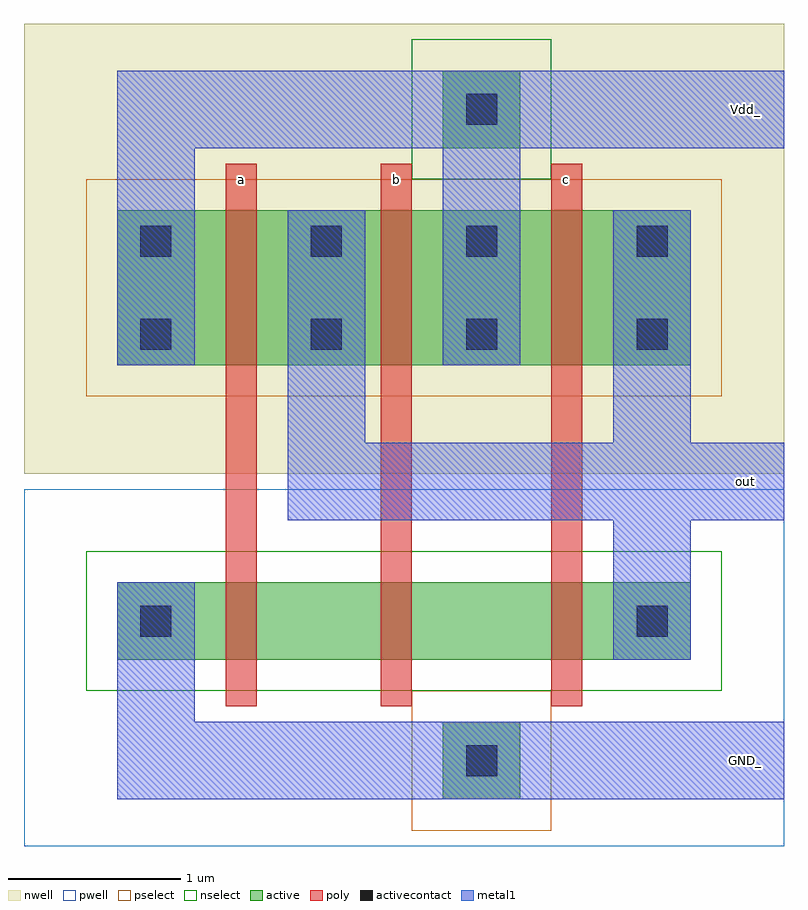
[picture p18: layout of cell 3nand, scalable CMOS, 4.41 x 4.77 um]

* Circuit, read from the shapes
.subckt 3nand GND_ Vdd_ a b c out
M1 n1 a GND_ GND_ nfet w=0.45u l=0.18u
M2 n2 b n1 GND_ nfet w=0.45u l=0.18u
M3 out c n2 GND_ nfet w=0.45u l=0.18u
M4 out a Vdd_ Vdd_ pfet w=0.9u l=0.18u
M5 Vdd_ b out Vdd_ pfet w=0.9u l=0.18u
M6 out c Vdd_ Vdd_ pfet w=0.9u l=0.18u
.ends

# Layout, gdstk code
import gdstk
lib = gdstk.Library(unit=1e-6, precision=1e-09)
def R(c, l, rs):  # rectangles x0, y0, x1, y1
    for r in rs: c.add(gdstk.rectangle(r[:2], r[2:], *l))
pwell = (41, 0)
nwell = (42, 0)
active = (43, 0)
pselect = (44, 0)
nselect = (45, 0)
poly = (46, 0)
activecontact = (48, 0)
metal1 = (49, 0)

c_3nand = lib.new_cell('3nand')
R(c_3nand, pwell, [(6.48,2.7,10.89,4.77)])
R(c_3nand, nwell, [(6.48,4.86,10.89,7.47)])
R(c_3nand, active, [(8.91,2.97,9.36,3.42), (7.02,3.78,10.35,4.23), (7.02,5.49,10.35,6.39), (8.91,6.75,9.36,7.2)])
R(c_3nand, pselect, [(8.73,2.79,9.54,3.6), (6.84,5.31,10.53,6.57)])
R(c_3nand, nselect, [(6.84,3.6,10.53,4.41), (8.73,6.57,9.54,7.38)])
R(c_3nand, poly, [(7.65,3.51,7.83,6.66), (8.55,3.51,8.73,6.66), (9.54,3.51,9.72,6.66)])
R(c_3nand, activecontact, [(9.045,3.105,9.225,3.285), (7.155,3.915,7.335,4.095), (10.035,3.915,10.215,4.095), (7.155,5.58,7.335,5.76), (8.145,5.58,8.325,5.76), (9.045,5.58,9.225,5.76), (10.035,5.58,10.215,5.76), (7.155,6.12,7.335,6.3), (8.145,6.12,8.325,6.3), (9.045,6.12,9.225,6.3), (10.035,6.12,10.215,6.3), (9.045,6.885,9.225,7.065)])
R(c_3nand, metal1, [(7.02,2.97,10.89,3.42), (7.02,3.42,7.47,4.23), (9.9,3.78,10.35,4.59), (8.01,4.59,10.89,5.04), (8.01,5.04,8.46,6.39), (9.9,5.04,10.35,6.39), (7.02,5.49,7.47,6.75), (8.91,5.49,9.36,6.75), (7.02,6.75,10.89,7.2)])
c_3nand.add(gdstk.Label('a', (7.74,6.57), layer=46, texttype=0))
c_3nand.add(gdstk.Label('b', (8.64,6.57), layer=46, texttype=0))
c_3nand.add(gdstk.Label('GND_', (10.665,3.195), layer=49, texttype=0))
c_3nand.add(gdstk.Label('Vdd_', (10.665,6.975), layer=49, texttype=0))
c_3nand.add(gdstk.Label('c', (9.63,6.57), layer=46, texttype=0))
c_3nand.add(gdstk.Label('out', (10.665,4.815), layer=49, texttype=0))

lib.write_gds('3nand.gds')
